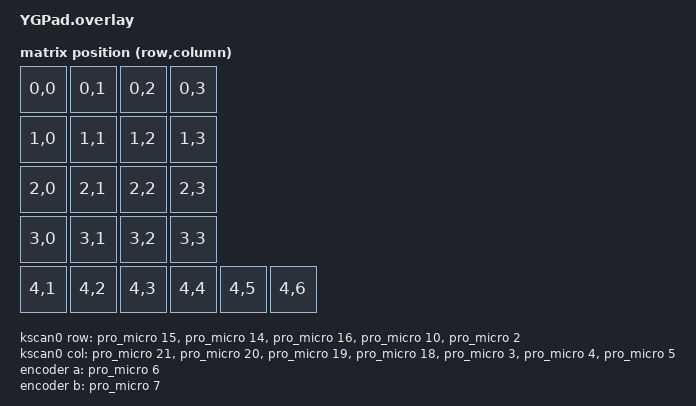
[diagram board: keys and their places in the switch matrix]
/*
 * Copyright (c) 2020 The ZMK Contributors
 *
 * SPDX-License-Identifier: MIT
 */

#include <dt-bindings/led/led.h>
#include <dt-bindings/zmk/matrix_transform.h>
#include "YGPad_layouts.dtsi"

/ {
    chosen {
        zmk,kscan = &kscan0;
        zmk,underglow = &led_strip;
        zmk,physical-layout = &ygpad_layout;
    };

    kscan0: kscan {
        compatible = "zmk,kscan-gpio-matrix";
        diode-direction = "col2row";
        wakeup-source;
        row-gpios
            = <&pro_micro 15 (GPIO_ACTIVE_HIGH | GPIO_PULL_DOWN)>
            , <&pro_micro 14 (GPIO_ACTIVE_HIGH | GPIO_PULL_DOWN)>
            , <&pro_micro 16 (GPIO_ACTIVE_HIGH | GPIO_PULL_DOWN)>
            , <&pro_micro 10 (GPIO_ACTIVE_HIGH | GPIO_PULL_DOWN)>
            , <&pro_micro 2  (GPIO_ACTIVE_HIGH | GPIO_PULL_DOWN)>
            ;

        col-gpios
            = <&pro_micro 21 GPIO_ACTIVE_HIGH>
            , <&pro_micro 20 GPIO_ACTIVE_HIGH>
            , <&pro_micro 19 GPIO_ACTIVE_HIGH>
            , <&pro_micro 18 GPIO_ACTIVE_HIGH>
            , <&pro_micro 3  GPIO_ACTIVE_HIGH>
            , <&pro_micro 4  GPIO_ACTIVE_HIGH>
            , <&pro_micro 5  GPIO_ACTIVE_HIGH>
            ;
    };

    encoder: encoder {
        compatible = "alps,ec11";
        a-gpios = <&pro_micro 6 (GPIO_ACTIVE_HIGH | GPIO_PULL_UP)>;
        b-gpios = <&pro_micro 7 (GPIO_ACTIVE_HIGH | GPIO_PULL_UP)>;
        steps = <20>;
        status = "okay";
    };

    sensors: sensors {
        compatible = "zmk,keymap-sensors";
        sensors = <&encoder>;
        triggers-per-rotation = <20>;
    };

    default_transform: keymap_transform_0 {
        compatible = "zmk,matrix-transform";
        rows = <5>;
        columns = <7>;

        map = <
            RC(0,0) RC(0,1) RC(0,2) RC(0,3)
            RC(1,0) RC(1,1) RC(1,2) RC(1,3)
            RC(2,0) RC(2,1) RC(2,2) RC(2,3)
            RC(3,0) RC(3,1) RC(3,2) RC(3,3)
            RC(4,1) RC(4,2) RC(4,3) RC(4,4) RC(4,5) RC(4,6)
        >;
    };
};

/* ZMK Studio/Layout 설정 */
&ygpad_layout {
    transform = <&default_transform>;
};

/* RGB Underglow (pinctrl & spi3) 설정 */
&pinctrl {
    spi3_default: spi3_default {
        group1 {
            psels = <NRF_PSEL(SPIM_MOSI, 0, 8)>;
        };
    };

    spi3_sleep: spi3_sleep {
        group1 {
            psels = <NRF_PSEL(SPIM_MOSI, 0, 8)>;
            low-power-enable;
        };
    };
};

&spi3 {
    compatible = "nordic,nrf-spim";
    status = "okay";
    pinctrl-0 = <&spi3_default>;
    pinctrl-1 = <&spi3_sleep>;
    pinctrl-names = "default", "sleep";

    led_strip: ws2812@0 {
        compatible = "worldsemi,ws2812-spi";
        reg = <0>;
        spi-max-frequency = <4000000>;
        chain-length = <1>; /* LED 개수에 맞춰 수정하세요 */
        spi-one-frame = <0x70>;
        spi-zero-frame = <0x40>;
        color-mapping = <LED_COLOR_ID_GREEN LED_COLOR_ID_RED LED_COLOR_ID_BLUE>;
    };
};


